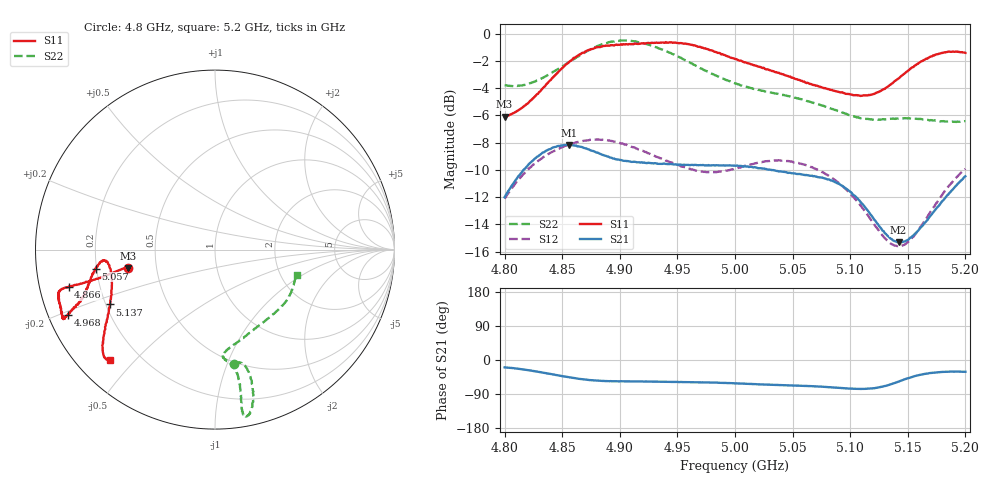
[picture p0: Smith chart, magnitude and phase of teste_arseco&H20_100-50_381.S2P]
! Network Analyzer HP8722D
! Hewlett-Packard
! Data name: Linha & Wilkinson
! Saver's name: Rodrigo Anjos
! Comments: Teste da utilização de aquisição
! continua pelo VNA HP8722D
! Time and date: 6/5/2025 15:44
!  Frequency  S11  S21  S12  S22
# HZ  S  MA R 50
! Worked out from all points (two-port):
!   401 points, 4.8 GHz to 5.2 GHz, reference 50 ohm
!   highest |S21| = -8.17 dB at 4.856 GHz (marker M1); lowest = -15.3 dB at 5.142 GHz (marker M2)
!   |S21| within 3 dB of the highest: 4.806 GHz to 5.093 GHz (286.9 MHz wide, 5.8 % of centre); 5.191966 GHz to end of sweep
!   lowest |S11| = -6.1 dB at 4.8 GHz (marker M3), VSWR 2.97, Z = 17 - j4.6 ohm
!   |S11| at or under -10 dB: nowhere
!   |S22| runs from -6.5 to -0.5 dB; largest |S21 - S12| = 0.62
!   S11 on the Smith chart (normalised r, x): 4.8 GHz: 0.34, -0.09; 4.866 GHz: 0.09, -0.12; 4.968 GHz: 0.06, -0.21; 5.057 GHz: 0.20, -0.08; 5.137 GHz: 0.22, -0.23; 5.2 GHz: 0.10, -0.43
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4.8e9  0.496 -168.1  0.2511 -19.5  0.2478 -140.7  0.6471 -80.4
4.827e9  0.5925 -167.0  0.3495 -29.9  0.3358 -144.4  0.67 -75.4
4.856e9  0.7883 -165.7  0.3905 -45.6  0.3918 -150.0  0.7879 -74.7
4.866e9  0.8424 -165.7  0.3845 -50.1  0.4023 -151.6  0.8382 -75.2
4.867e9  0.8498 -165.7  0.3839 -50.6  0.403 -151.8  0.8441 -75.3
4.88e9  0.8916 -165.4  0.3659 -54.6  0.4088 -154.0  0.8999 -76.6
4.9e9  0.9114 -162.5  0.3441 -56.1  0.397 -156.4  0.9443 -79.1
4.934e9  0.928 -156.3  0.3328 -57.4  0.3514 -155.6  0.8836 -80.3
4.968e9  0.897 -156.1  0.3292 -58.9  0.3135 -147.4  0.7558 -79.6
5e9  0.8088 -158.8  0.3277 -61.7  0.3197 -137.1  0.6577 -81.2
5.031e9  0.734 -164.5  0.3165 -65.4  0.3418 -134.2  0.6089 -85.3
5.057e9  0.6729 -170.9  0.3051 -67.8  0.3333 -135.8  0.576 -84.7
5.067e9  0.6509 -172.9  0.3011 -69.1  0.3238 -136.6  0.5593 -82.6
5.085e9  0.6198 -174.3  0.2878 -72.4  0.2938 -138.2  0.529 -75.8
5.101e9  0.5987 -172.1  0.2612 -75.6  0.2562 -138.7  0.5016 -66.6
5.117e9  0.5956 -164.7  0.2187 -75.6  0.2101 -135.0  0.4855 -55.2
5.134e9  0.6461 -154.4  0.1785 -65.2  0.1709 -120.7  0.4867 -43.4
5.137e9  0.6594 -152.4  0.1744 -62.5  0.168 -116.9  0.4882 -41.5
5.142e9  0.6859 -149.7  0.1712 -56.9  0.1662 -110.4  0.4879 -38.6
5.154e9  0.7531 -144.3  0.1803 -44.6  0.1786 -95.0  0.4875 -32.4
5.174e9  0.8385 -138.3  0.2261 -32.8  0.2361 -80.2  0.4798 -24.0
5.2e9  0.8513 -133.5  0.2996 -31.2  0.3188 -76.7  0.4768 -17.6
